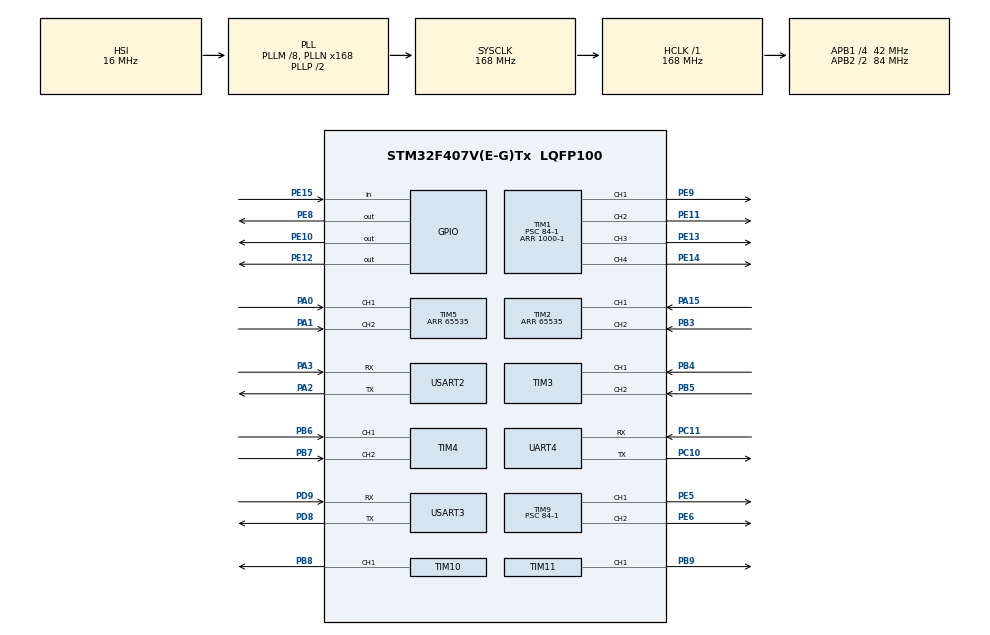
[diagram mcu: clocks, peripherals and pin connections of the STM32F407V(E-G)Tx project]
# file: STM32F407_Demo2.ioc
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Dma.Request0=USART2_RX
Dma.Request1=USART2_TX
Dma.USART2_RX.0.Direction=DMA_PERIPH_TO_MEMORY
Dma.USART2_RX.0.FIFOMode=DMA_FIFOMODE_DISABLE
Dma.USART2_RX.0.Instance=DMA1_Stream5
Dma.USART2_RX.0.MemDataAlignment=DMA_MDATAALIGN_BYTE
Dma.USART2_RX.0.MemInc=DMA_MINC_ENABLE
Dma.USART2_RX.0.Mode=DMA_NORMAL
Dma.USART2_RX.0.PeriphDataAlignment=DMA_PDATAALIGN_BYTE
Dma.USART2_RX.0.PeriphInc=DMA_PINC_DISABLE
Dma.USART2_RX.0.Priority=DMA_PRIORITY_VERY_HIGH
Dma.USART2_TX.1.Direction=DMA_MEMORY_TO_PERIPH
Dma.USART2_TX.1.FIFOMode=DMA_FIFOMODE_DISABLE
Dma.USART2_TX.1.Instance=DMA1_Stream6
Dma.USART2_TX.1.MemDataAlignment=DMA_MDATAALIGN_BYTE
Dma.USART2_TX.1.MemInc=DMA_MINC_ENABLE
Dma.USART2_TX.1.Mode=DMA_NORMAL
Dma.USART2_TX.1.PeriphDataAlignment=DMA_PDATAALIGN_BYTE
Dma.USART2_TX.1.PeriphInc=DMA_PINC_DISABLE
Dma.USART2_TX.1.Priority=DMA_PRIORITY_MEDIUM
Mcu.Family=STM32F4
Mcu.Name=STM32F407V(E-G)Tx
Mcu.Package=LQFP100
NVIC.DMA1_Stream5_IRQn=true\:0\:0\:false\:false\:true\:false\:true\:true
NVIC.DMA1_Stream6_IRQn=true\:0\:0\:false\:false\:true\:false\:true\:true
NVIC.PriorityGroup=NVIC_PRIORITYGROUP_4
NVIC.TIM6_DAC_IRQn=true\:0\:0\:false\:false\:true\:true\:true\:true
NVIC.TIM7_IRQn=true\:0\:0\:false\:false\:true\:true\:true\:true
NVIC.TIM8_TRG_COM_TIM14_IRQn=true\:0\:0\:false\:false\:true\:true\:true\:true
NVIC.UART4_IRQn=true\:0\:0\:false\:false\:true\:true\:true\:true
NVIC.USART2_IRQn=true\:0\:0\:false\:false\:true\:true\:true\:true
NVIC.USART3_IRQn=true\:0\:0\:false\:false\:true\:true\:true\:true
PA0-WKUP.Signal=S_TIM5_CH1
PA1.Signal=S_TIM5_CH2
PA13.Mode=Serial_Wire
PA13.Signal=SYS_JTMS-SWDIO
PA14.Mode=Serial_Wire
PA14.Signal=SYS_JTCK-SWCLK
PA15.Signal=S_TIM2_CH1_ETR
PA2.Mode=Asynchronous
PA2.Signal=USART2_TX
PA3.Mode=Asynchronous
PA3.Signal=USART2_RX
PB3.Signal=S_TIM2_CH2
PB4.Signal=S_TIM3_CH1
PB5.Signal=S_TIM3_CH2
PB6.Signal=S_TIM4_CH1
PB7.Signal=S_TIM4_CH2
PB8.Signal=S_TIM10_CH1
PB9.Signal=S_TIM11_CH1
PC10.Mode=Asynchronous
PC10.Signal=UART4_TX
PC11.Mode=Asynchronous
PC11.Signal=UART4_RX
PD8.Mode=Asynchronous
PD8.Signal=USART3_TX
PD9.Mode=Asynchronous
PD9.Signal=USART3_RX
PE10.PinState=GPIO_PIN_SET
PE10.Signal=GPIO_Output
PE11.Signal=S_TIM1_CH2
PE12.Signal=GPIO_Output
PE13.Signal=S_TIM1_CH3
PE14.Signal=S_TIM1_CH4
PE15.Signal=GPIO_Input
PE5.Signal=S_TIM9_CH1
PE6.Signal=S_TIM9_CH2
PE8.GPIO_Speed=GPIO_SPEED_FREQ_LOW
PE8.PinState=GPIO_PIN_RESET
PE8.Signal=GPIO_Output
PE9.Signal=S_TIM1_CH1
PH0-OSC_IN.Mode=HSE-External-Oscillator
PH0-OSC_IN.Signal=RCC_OSC_IN
PH1-OSC_OUT.Mode=HSE-External-Oscillator
PH1-OSC_OUT.Signal=RCC_OSC_OUT
ProjectManager.HeapSize=0x200
ProjectManager.StackSize=0x400
ProjectManager.TargetToolchain=STM32CubeIDE
RCC.48MHZClocksFreq_Value=84000000
RCC.AHBFreq_Value=168000000
RCC.APB1CLKDivider=RCC_HCLK_DIV4
RCC.APB1Freq_Value=42000000
RCC.APB1TimFreq_Value=84000000
RCC.APB2CLKDivider=RCC_HCLK_DIV2
RCC.APB2Freq_Value=84000000
RCC.APB2TimFreq_Value=168000000
RCC.CortexFreq_Value=168000000
RCC.HCLKFreq_Value=168000000
RCC.HSE_VALUE=8000000
RCC.HSI_VALUE=16000000
RCC.LSE_VALUE=32768
RCC.PLLM=8
RCC.PLLN=168
RCC.SYSCLKFreq_VALUE=168000000
RCC.SYSCLKSource=RCC_SYSCLKSOURCE_PLLCLK
RCC.VCOOutputFreq_Value=336000000
SH.S_TIM10_CH1.0=TIM10_CH1,PWM Generation1 CH1
SH.S_TIM11_CH1.0=TIM11_CH1,PWM Generation1 CH1
SH.S_TIM1_CH1.0=TIM1_CH1,PWM Generation1 CH1
SH.S_TIM1_CH2.0=TIM1_CH2,PWM Generation2 CH2
SH.S_TIM1_CH3.0=TIM1_CH3,PWM Generation3 CH3
SH.S_TIM1_CH4.0=TIM1_CH4,PWM Generation4 CH4
SH.S_TIM2_CH1_ETR.0=TIM2_CH1,Encoder_Interface
SH.S_TIM2_CH2.0=TIM2_CH2,Encoder_Interface
SH.S_TIM3_CH1.0=TIM3_CH1,Encoder_Interface
SH.S_TIM3_CH2.0=TIM3_CH2,Encoder_Interface
SH.S_TIM4_CH1.0=TIM4_CH1,Encoder_Interface
SH.S_TIM4_CH2.0=TIM4_CH2,Encoder_Interface
SH.S_TIM5_CH1.0=TIM5_CH1,Encoder_Interface
SH.S_TIM5_CH2.0=TIM5_CH2,Encoder_Interface
SH.S_TIM9_CH1.0=TIM9_CH1,PWM Generation1 CH1
SH.S_TIM9_CH2.0=TIM9_CH2,PWM Generation2 CH2
TIM1.AutoReloadPreload=TIM_AUTORELOAD_PRELOAD_ENABLE
TIM1.Channel-PWM\ Generation1\ CH1=TIM_CHANNEL_1
TIM1.Channel-PWM\ Generation2\ CH2=TIM_CHANNEL_2
TIM1.Channel-PWM\ Generation3\ CH3=TIM_CHANNEL_3
TIM1.Channel-PWM\ Generation4\ CH4=TIM_CHANNEL_4
TIM1.Period=1000-1
TIM1.Prescaler=84-1
TIM10.AutoReloadPreload=TIM_AUTORELOAD_PRELOAD_ENABLE
TIM10.Channel=TIM_CHANNEL_1
TIM10.Period=1000-1
TIM10.Prescaler=94-1
TIM11.AutoReloadPreload=TIM_AUTORELOAD_PRELOAD_ENABLE
TIM11.Channel=TIM_CHANNEL_1
TIM11.Period=1000-1
TIM11.Prescaler=84-1
TIM13.Prescaler=168-1
TIM14.AutoReloadPreload=TIM_AUTORELOAD_PRELOAD_ENABLE
TIM14.Period=1000
TIM14.Prescaler=168-1
TIM2.EncoderMode=TIM_ENCODERMODE_TI12
TIM2.Period=65535
TIM3.EncoderMode=TIM_ENCODERMODE_TI12
TIM4.AutoReloadPreload=TIM_AUTORELOAD_PRELOAD_ENABLE
TIM4.EncoderMode=TIM_ENCODERMODE_TI12
TIM5.AutoReloadPreload=TIM_AUTORELOAD_PRELOAD_ENABLE
TIM5.EncoderMode=TIM_ENCODERMODE_TI12
TIM5.Period=65535
TIM6.AutoReloadPreload=TIM_AUTORELOAD_PRELOAD_ENABLE
TIM6.Period=10000
TIM6.Prescaler=840-1
TIM7.AutoReloadPreload=TIM_AUTORELOAD_PRELOAD_ENABLE
TIM7.Period=1000
TIM7.Prescaler=84-1
TIM9.AutoReloadPreload=TIM_AUTORELOAD_PRELOAD_ENABLE
TIM9.Channel-PWM\ Generation1\ CH1=TIM_CHANNEL_1
TIM9.Channel-PWM\ Generation2\ CH2=TIM_CHANNEL_2
TIM9.Period=1000-1
TIM9.Prescaler=84-1
UART4.VirtualMode=Asynchronous
USART2.VirtualMode=VM_ASYNC
USART3.VirtualMode=VM_ASYNC
VP_TIM10_VS_ClockSourceINT.Mode=Enable_Timer
VP_TIM11_VS_ClockSourceINT.Mode=Enable_Timer
VP_TIM13_VS_ClockSourceINT.Mode=Enable_Timer
VP_TIM14_VS_ClockSourceINT.Mode=Enable_Timer
VP_TIM1_VS_ClockSourceINT.Mode=Internal
VP_TIM6_VS_ClockSourceINT.Mode=Enable_Timer
VP_TIM7_VS_ClockSourceINT.Mode=Enable_Timer
VP_TIM9_VS_ClockSourceINT.Mode=Internal
board=custom

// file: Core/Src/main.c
/* USER CODE BEGIN Header */
/**
  ******************************************************************************
  * @file           : main.c
  * @brief          : Main program body
  ******************************************************************************
  * @attention
  *
  * Copyright (c) 2023 STMicroelectronics.
  * All rights reserved.
  *
  * This software is licensed under terms that can be found in the LICENSE file
  * in the root directory of this software component.
  * If no LICENSE file comes with this software, it is provided AS-IS.
  *
  ******************************************************************************
  */
/* USER CODE END Header */
#include "main.h"
#include "dma.h"
#include "tim.h"
#include "usart.h"
#include "gpio.h"

/* USER CODE BEGIN Includes */
#include "bsp_GPIO_ENABLE.h"
#include "retarget.h"
#include <stdio.h>
#include "motor_control.h"
#include "bsp_delay.h"
#include "bsp_ps2.h"
#include "bsp_Mecanum.h"
#include "bsp_beep.h"
#include "Show_oled_num.h"
#include "wit_c_sdk.h"
#include "wit_callback.h"
#include "bsp_encoder.h"
#include "EnterCritical.h"
#include "math.h"
/* USER CODE END Includes */

void SystemClock_Config(void);

/* USER CODE BEGIN 0 */
volatile float theta ;
/* USER CODE END 0 */

int main(void)
{

  /* MCU Configuration--------------------------------------------------------*/

  /* Reset of all peripherals, Initializes the Flash interface and the Systick. */
  HAL_Init();

  /* USER CODE BEGIN Init */
uint8_t key=0;

  /* USER CODE END Init */

  /* Configure the system clock */
  SystemClock_Config();

  /* Initialize all configured peripherals */
  MX_GPIO_Init();
  MX_DMA_Init();
  MX_TIM2_Init();
  MX_TIM3_Init();
  MX_TIM9_Init();
  MX_TIM10_Init();
  MX_TIM11_Init();
  MX_TIM6_Init();
  MX_USART2_UART_Init();
  MX_USART3_UART_Init();
  MX_TIM4_Init();
  MX_TIM5_Init();
  MX_TIM1_Init();
  MX_TIM7_Init();
  MX_TIM13_Init();
  MX_UART4_Init();
  MX_TIM14_Init();
  /* USER CODE BEGIN 2 */
    //GPIO初始化
    MY_GPIO_Init();
    //重定向
    RetargetInit(&huart4);
    /*   motor Init   */
    char Data[10]="3";
    motor_init(0,htim2,htim10,TIM_CHANNEL_1,htim11,TIM_CHANNEL_1);
    motor_init(1,htim3,htim9,TIM_CHANNEL_1,htim9,TIM_CHANNEL_2);
    motor_init(2,htim4,htim1,TIM_CHANNEL_1,htim1,TIM_CHANNEL_2);
    motor_init(3,htim5,htim1,TIM_CHANNEL_3,htim1,TIM_CHANNEL_4);
    motor_start(0);
    motor_start(1);
    motor_start(2);
    motor_start(3);
    HAL_TIM_Base_Start_IT(&htim6);
    HAL_TIM_Base_Start_IT(&htim7);
    /*   motor Init   */

    /*   OLED Init   */
    SPI_PIN_Init();
    OLED_Init();
    start_beep();
    /*   OLED Init   */

    /*    IMU INit    */
    Usart2Init(115200);

    __HAL_UART_ENABLE_IT(&huart2,UART_IT_RXNE);
    uint8_t tempdata;
    HAL_UART_Receive_IT(&huart3,&tempdata,1);

    /*蓝牙初始化*/
    __HAL_UART_ENABLE_IT(&huart4,UART_IT_RXNE);
    uint8_t tempdata_4;
    HAL_UART_Receive_IT(&huart4,&tempdata_4,1);

    WitInit(WIT_PROTOCOL_NORMAL, 0x50);
    WitSerialWriteRegister(SensorUartSend);
    WitRegisterCallBack(SensorDataUpdata);
    WitDelayMsRegister(Delayms);
    printf("\r\n********************** wit-motion normal example  ************************\r\n");
    //AutoScanSensor();

    //纠偏PID初始化：
    _PID_t PID_for_w;
    PID_Param_init(&PID_for_w);
    set_p_i_d(&PID_for_w,2.0,0,1.0);
    int16_t temp_direction = 0;
    /*    IMU Init    */

    //HAL_TIM_Base_Start_IT(&htim14);
  /* USER CODE END 2 */

  /* Infinite loop */
  /* USER CODE BEGIN WHILE */
  while (1)
  {
      trans_float();
      //printf("ddd\n");
      //printf("%d",sizeof(float));
      //printf("\r\n%.3f %.3f %.3f %.3f %.3f %.3f %.3f %.3f %.3f %.3f %.3f %.3f %.3f\r\n",temp[0],temp[1], temp[2], temp[3], temp[4], temp[5], temp[6], temp[7], temp[8], motor[0].actual_speed,motor[1].actual_speed,motor[2].actual_speed,motor[3].actual_speed);
      /*接收imu数据*/
      //数据将在TIM7定时中断回调函数中处理
      /*
      HAL_UART_Receive_DMA(&huart2, rx_buffer, 11);
      for (int i = 0; i < 11; i++) {
          WitSerialDataIn(rx_buffer[i]);
          //printf("%X",rx_buffer[i]);
      }
      */
      /*接收imu数据*/

      //oled显示
      draw_speed(&motor[0]);
      //ps2读取数据
      PS2_Read_Data();
      portENTER_CRITICAL();

      car_speed[0]=5.0/128.0*PS2_Data.Rocker_LY;
      car_speed[1]=5.0/128.0*PS2_Data.Rocker_RX;
/*
      if(PS2_Data.Key_L2 == 1){
          temp_direction = 3.14159/2;
      } else if(PS2_Data.Key_R2 == 1){
          temp_direction = -3.1415926/2;
      }
      */
      if(PS2_Data.Key_L1 != 0)
        car_speed[2]=PS2_Data.Key_L1*0.03;
      else if(PS2_Data.Key_L2!=0)
        car_speed[2]=-PS2_Data.Key_R1*0.03;
      else{
          //printf("%f,%f\n\n",car_speed[1],car_speed[0]);
          //printf("%f,%f,%f\n",data_imu[6].data,data_imu[7].data,data_imu[8].data);
          //printf("%d,%d\n",PS2_Data.Key_L1,PS2_Data.Key_R2);
          theta = atan2f(car_speed[1], car_speed[0]);
          set_pid_target(&PID_for_w,temp_direction);
          //car_speed[2]=PID_realize(&PID_for_w,data_imu[8].data/360.0*2*3.1415926)*0.05;
          car_speed[2] = 0;
          //printf("%f,%f,%f\n",data_imu[8].data,theta,car_speed[2]);
      }
      portEXIT_CRITICAL();
      //car_speed[2] = 0;

      while(!HAL_GPIO_ReadPin(GPIOD,GPIO_PIN_3))
      {
          if (key==0)
          {
              motor_stop(0);
              motor_stop(1);
              motor_stop(2);
              motor_stop(3);
              HAL_TIM_Base_Stop(&htim6);
              key=1;
          }
      }
      if(key==1)
      {
          motor_init(0,htim2,htim10,TIM_CHANNEL_1,htim11,TIM_CHANNEL_1);
          motor_init(1,htim3,htim9,TIM_CHANNEL_1,htim9,TIM_CHANNEL_2);
          motor_init(2,htim4,htim1,TIM_CHANNEL_1,htim1,TIM_CHANNEL_2);
          motor_init(3,htim5,htim1,TIM_CHANNEL_3,htim1,TIM_CHANNEL_4);
          motor_start(0);
          motor_start(1);
          motor_start(2);
          motor_start(3);
          HAL_TIM_Base_Start_IT(&htim6);
          key=0;
      }
        if(PS2_Data.A_D==1)
        {
            cal_motor_speed(cal_matrix,motor_w,car_speed,MOTOR_R);

            set_pid_target(&motor[0].motor_pid,motor_w[0]*37.5/5.5*1000.0);
            set_pid_target(&motor[1].motor_pid,motor_w[3]*37.5/5.5*1000.0);
            set_pid_target(&motor[2].motor_pid,motor_w[2]*37.5/5.5*1000.0);
            set_pid_target(&motor[3].motor_pid,motor_w[1]*37.5/5.5*1000.0);
        }
        //printf("%f,%f,%f\n",car_speed[0],car_speed[1],car_speed[2]);
        //printf("%f,%f,%f,%f\n",)
        //printf("%f,%f,%f,%f\n",motor[0].motor_pid.target,motor[0].motor_pid.target,motor[0].motor_pid.target,motor[0].motor_pid.target);
        //printf("%f,%f,%f,%f\n",motor[0].actual_speed,motor[1].actual_speed,motor[2].actual_speed,motor[3].actual_speed);
        //printf("%f,%f,%f\n",data_imu[6].data,data_imu[7].data,data_imu[8].data);
        //printf("%f,%f,%f,%f\n",motor[0].motor_overflow_counter.Capture_Count,motor[1].motor_overflow_counter.Capture_Count,motor[2].motor_overflow_counter.Capture_Count,motor[3].motor_overflow_counter.Capture_Count);
        //printf("%d,%d,%d,%d,%d,%d,%f\n",PS2_Data.A_D,PS2_Data.Rocker_LX,PS2_Data.Rocker_LY,PS2_Data.Rocker_RX,PS2_Data.Rocker_RY,PS2_Data.Key_L1,car_speed[2]);
        //printf("%d,%d,%d,%d,%d,%d,%d,%d,%d\n",PS2data[0],PS2data[1],PS2data[2],PS2data[3],PS2data[4],PS2data[5],PS2data[6],PS2data[7],PS2data[8]);
    /* USER CODE END WHILE */

  }
}

void SystemClock_Config(void)
{
  RCC_OscInitTypeDef RCC_OscInitStruct = {0};
  RCC_ClkInitTypeDef RCC_ClkInitStruct = {0};

  /** Configure the main internal regulator output voltage
  */
  __HAL_RCC_PWR_CLK_ENABLE();
  __HAL_PWR_VOLTAGESCALING_CONFIG(PWR_REGULATOR_VOLTAGE_SCALE1);

  /** Initializes the RCC Oscillators according to the specified parameters
  * in the RCC_OscInitTypeDef structure.
  */
  RCC_OscInitStruct.OscillatorType = RCC_OSCILLATORTYPE_HSI;
  RCC_OscInitStruct.HSIState = RCC_HSI_ON;
  RCC_OscInitStruct.HSICalibrationValue = RCC_HSICALIBRATION_DEFAULT;
  RCC_OscInitStruct.PLL.PLLState = RCC_PLL_ON;
  RCC_OscInitStruct.PLL.PLLSource = RCC_PLLSOURCE_HSI;
  RCC_OscInitStruct.PLL.PLLM = 8;
  RCC_OscInitStruct.PLL.PLLN = 168;
  RCC_OscInitStruct.PLL.PLLP = RCC_PLLP_DIV2;
  RCC_OscInitStruct.PLL.PLLQ = 4;
  if (HAL_RCC_OscConfig(&RCC_OscInitStruct) != HAL_OK)
  {
    Error_Handler();
  }

  /** Initializes the CPU, AHB and APB buses clocks
  */
  RCC_ClkInitStruct.ClockType = RCC_CLOCKTYPE_HCLK|RCC_CLOCKTYPE_SYSCLK
                              |RCC_CLOCKTYPE_PCLK1|RCC_CLOCKTYPE_PCLK2;
  RCC_ClkInitStruct.SYSCLKSource = RCC_SYSCLKSOURCE_PLLCLK;
  RCC_ClkInitStruct.AHBCLKDivider = RCC_SYSCLK_DIV1;
  RCC_ClkInitStruct.APB1CLKDivider = RCC_HCLK_DIV4;
  RCC_ClkInitStruct.APB2CLKDivider = RCC_HCLK_DIV2;

  if (HAL_RCC_ClockConfig(&RCC_ClkInitStruct, FLASH_LATENCY_5) != HAL_OK)
  {
    Error_Handler();
  }
}

void Error_Handler(void)
{
  /* USER CODE BEGIN Error_Handler_Debug */
  /* User can add his own implementation to report the HAL error return state */
  __disable_irq();
  while (1)
  {
      break;
  }
  /* USER CODE END Error_Handler_Debug */
}
